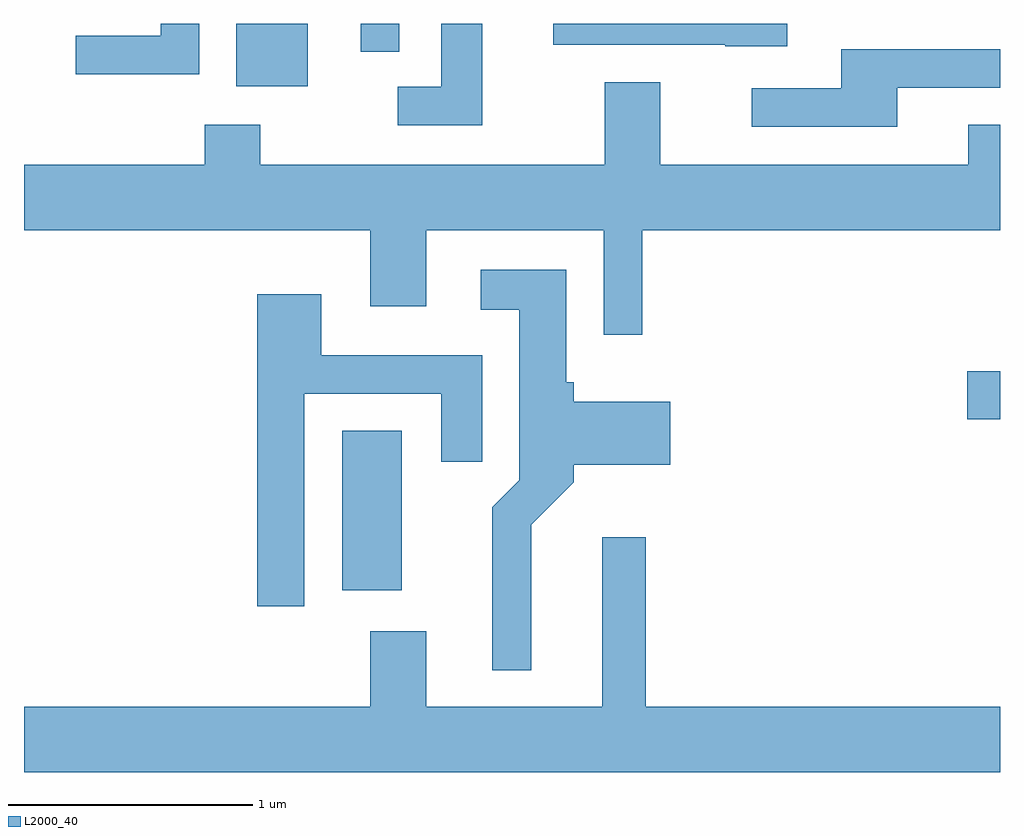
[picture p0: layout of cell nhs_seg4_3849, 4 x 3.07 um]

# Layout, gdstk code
import gdstk
lib = gdstk.Library(unit=1e-6, precision=1e-09)
def R(c, l, rs):  # rectangles x0, y0, x1, y1
    for r in rs: c.add(gdstk.rectangle(r[:2], r[2:], *l))
def P(c, l, *ps):  # polygons
    for p in ps: c.add(gdstk.Polygon(p, *l))
L2000_40 = (2000, 40)

nhs_seg4_3849 = lib.new_cell('nhs_seg4_3849')
R(nhs_seg4_3849, L2000_40, [(298.916,1337.661,299.159,1338.314), (301.476,1338.361,301.611,1338.559), (298.481,1339.726,298.774,1339.982), (298.991,1339.868,299.149,1339.982)])
P(nhs_seg4_3849, L2000_40, [(298.329,1339.982),(298.171,1339.982),(298.171,1339.934),(297.823,1339.934),(297.823,1339.776),(298.329,1339.776)],
  [(300.739,1339.982),(299.781,1339.982),(299.781,1339.896),(300.485,1339.896),(300.485,1339.891),(300.739,1339.891)],
  [(299.489,1339.982),(299.321,1339.982),(299.321,1339.724),(299.143,1339.724),(299.143,1339.566),(299.489,1339.566)],
  [(301.189,1339.721),(301.611,1339.721),(301.611,1339.879),(300.961,1339.879),(300.961,1339.719),(300.593,1339.719),(300.593,1339.561),(301.189,1339.561)],
  [(300.144,1339.136),(301.611,1339.136),(301.611,1339.569),(301.481,1339.569),(301.481,1339.404),(300.219,1339.404),(300.219,1339.744),(299.991,1339.744),(299.991,1339.404),(298.579,1339.404),(298.579,1339.569),(298.351,1339.569),(298.351,1339.404),(297.611,1339.404),(297.611,1339.136),(299.031,1339.136),(299.031,1338.826),(299.259,1338.826),(299.259,1339.136),(299.986,1339.136),(299.986,1338.708),(300.144,1338.708)],
  [(299.689,1337.929),(299.864,1338.104),(299.864,1338.176),(300.259,1338.176),(300.259,1338.434),(299.864,1338.434),(299.864,1338.514),(299.834,1338.514),(299.834,1338.974),(299.483,1338.974),(299.483,1338.811),(299.641,1338.811),(299.641,1338.112),(299.531,1338.002),(299.531,1337.333),(299.689,1337.333)],
  [(298.759,1338.466),(299.321,1338.466),(299.321,1338.188),(299.489,1338.188),(299.489,1338.624),(298.829,1338.624),(298.829,1338.874),(298.566,1338.874),(298.566,1337.596),(298.759,1337.596)],
  [(301.611,1337.184),(300.159,1337.184),(300.159,1337.879),(299.981,1337.879),(299.981,1337.184),(299.259,1337.184),(299.259,1337.494),(299.031,1337.494),(299.031,1337.184),(297.611,1337.184),(297.611,1336.916),(301.611,1336.916)])

lib.write_gds('nhs_seg4_3849.gds')
